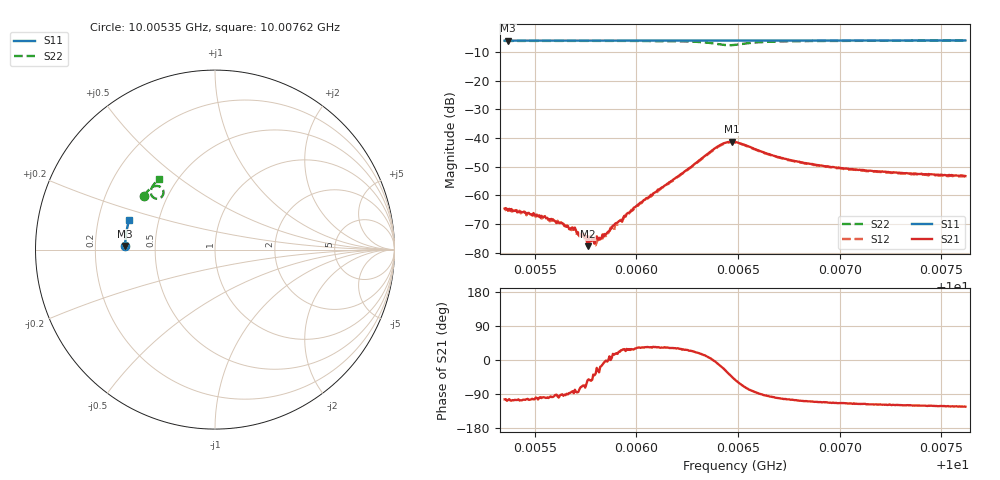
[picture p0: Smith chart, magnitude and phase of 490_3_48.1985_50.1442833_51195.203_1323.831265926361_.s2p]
#  HZ  S  RI  R  50.00
! Rohde & Schwarz Vector Network Analyzer
! Rohde-Schwarz,ZNB20-2Port,1311601062101988,3.16
! Created: UTC 3/20/2024, 11:58:02 AM
! freq[Hz]  re:S11  im:S11  re:S21  im:S21  re:S12  im:S12  re:S22  im:S22
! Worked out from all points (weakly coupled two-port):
!   401 points, 10.00535 GHz to 10.00762 GHz, reference 50 ohm
!   highest |S21| = -41.29 dB at 10.00647 GHz (marker M1); lowest = -77.8 dB at 10.00576 GHz (marker M2)
!   lowest |S11| = -6.0 dB at 10.00537 GHz (marker M3), VSWR 3.01, Z = 16.6 + j0.931 ohm
!   |S11| at or under -10 dB: nowhere
!   |S22| runs from -7.6 to -6.0 dB; largest |S21 - S12| = 0.00053
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1.0005352e10  -0.5006 0.0198  -0.000141 -0.00057  -0.000113 -0.000536  -0.3966 0.2978
1.0005369e10  -0.5004 0.021  -0.000144 -0.000517  -9.42e-05 -0.000563  -0.3958 0.2989
1.0005545e10  -0.5002 0.0325  -5.98e-05 -0.000414  -5.72e-05 -0.000404  -0.3883 0.3093
1.0005613e10  -0.5 0.0369  -3.56e-05 -0.000342  -5.22e-05 -0.000356  -0.3853 0.3134
1.0005692e10  -0.4998 0.0419  9.81e-06 -0.000251  4.82e-05 -0.000225  -0.3814 0.3181
1.0005715e10  -0.4997 0.0435  2.18e-05 -0.000224  3.87e-05 -0.000199  -0.3805 0.3194
1.0005732e10  -0.4996 0.0446  7.61e-05 -0.00021  9.96e-05 -0.000208  -0.3794 0.3206
1.000576e10  -0.4995 0.0464  7.66e-05 -0.000104  0.000104 -0.000144  -0.378 0.3224
1.0005783e10  -0.4994 0.0479  0.000103 -0.000133  0.000113 -0.000125  -0.3768 0.3237
1.0005794e10  -0.4993 0.0486  0.000109 -9.25e-05  0.000108 -8.59e-05  -0.3762 0.3244
1.0005811e10  -0.4993 0.0498  0.00015 -7.92e-05  0.000149 -7.45e-05  -0.3752 0.3255
1.0005851e10  -0.4991 0.0522  0.000205 -4.64e-06  0.000194 1.67e-06  -0.3729 0.328
1.000589e10  -0.4989 0.0549  0.000295 7.16e-05  0.000228 6.97e-05  -0.3706 0.3307
1.0005981e10  -0.4984 0.0607  0.00048 0.000256  0.000457 0.000306  -0.3643 0.3366
1.0006111e10  -0.4975 0.0692  0.00106 0.000699  0.000998 0.000733  -0.3528 0.3458
1.0006394e10  -0.4947 0.0874  0.00684 -0.00086  0.00672 -0.00044  -0.2895 0.3319
1.0006468e10  -0.4939 0.0914  0.00625 -0.00594  0.00641 -0.00546  -0.3034 0.2887
1.0006485e10  -0.4937 0.0924  0.00524 -0.00672  0.00548 -0.00631  -0.3138 0.2842
1.0006683e10  -0.4922 0.1051  -0.000783 -0.00476  -0.000509 -0.00474  -0.358 0.3253
1.0006864e10  -0.4901 0.1168  -0.00118 -0.00332  -0.000983 -0.00331  -0.3504 0.3484
1.0007244e10  -0.4847 0.1406  -0.00117 -0.00224  -0.00108 -0.00226  -0.3304 0.3754
1.0007618e10  -0.4781 0.1638  -0.00119 -0.00182  -0.00108 -0.00182  -0.3112 0.3943
